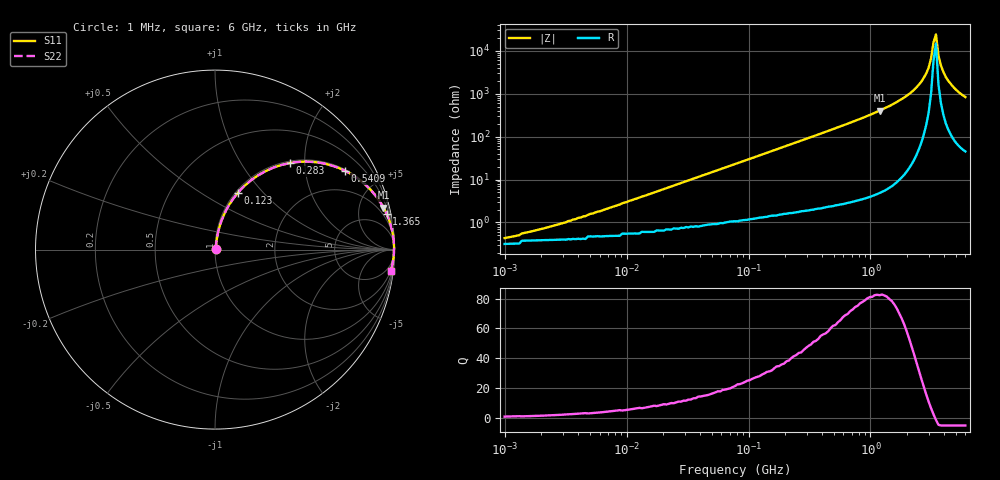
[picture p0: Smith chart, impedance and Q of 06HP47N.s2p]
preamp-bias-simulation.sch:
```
<Qucs Schematic 0.0.19>
<Properties>
  <View=142,9,2351,1324,0.646801,0,0>
  <Grid=10,10,1>
  <DataSet=preamp-bias-simulation.dat>
  <DataDisplay=preamp-bias-simulation.dpl>
  <OpenDisplay=1>
  <Script=preamp-bias-simulation.m>
  <RunScript=0>
  <showFrame=0>
  <FrameText0=Title>
  <FrameText1=Drawn By:>
  <FrameText2=Date:>
  <FrameText3=Revision:>
</Properties>
<Symbol>
</Symbol>
<Components>
  <GND * 1 550 410 0 0 0 0>
  <GND * 1 800 410 0 0 0 0>
  <Pac P3 1 800 350 18 -26 0 1 "3" 1 "50 Ohm" 1 "0 dBm" 0 "1 GHz" 0 "26.85" 0>
  <GND * 1 670 490 0 0 0 0>
  <.SP SP1 1 310 40 0 66 0 0 "lin" 1 "1 MHz" 1 "10 GHz" 1 "5000" 1 "no" 0 "1" 0 "2" 0 "no" 0 "no" 0>
  <Eqn Gains 1 540 50 -30 16 0 0 "Gain_S21db=20*log10(abs(S[2,1]))" 1 "Gain_S31db=20*log10(abs(S[3,1]))" 1 "Gain_S54db=20*log10(abs(S[5,4]))" 1 "yes" 0>
  <GND * 1 1140 770 0 0 0 0>
  <R R1 1 670 430 15 -26 0 1 "10 Ohm" 1 "26.85" 0 "0.0" 0 "0.0" 0 "26.85" 0 "US" 0>
  <R R11 1 740 300 -35 -48 0 0 "1000" 1 "26.85" 0 "0.0" 0 "0.0" 0 "26.85" 0 "US" 0>
  <Eqn Eqn2 1 860 50 -30 16 0 0 "ZinA=(1+S[1,1])/(1-S[1,1])" 1 "ZinB=(1+S[4,4])/(1-S[4,4])" 1 "RinA=real(ZinA)" 1 "RinB=real(ZinB)" 1 "XinA=imag(ZinA)" 1 "XinB=imag(ZinB)" 1 "yes" 0>
  <GND * 1 290 770 0 0 0 0>
  <Pac P1 1 290 670 18 -26 0 1 "1" 1 "50" 1 "0 dBm" 0 "1 GHz" 0 "26.85" 0>
  <Pac P4 1 1140 670 18 -26 0 1 "4" 1 "50 Ohm" 1 "0 dBm" 0 "1 GHz" 0 "26.85" 0>
  <SPfile L_0603HP47N 1 550 300 -40 -41 0 0 "/home/joao/preamp-bias-simulation/06HP47N.s2p" 0 "polar" 0 "linear" 0 "open" 0 "2" 0>
  <GND * 1 650 770 0 0 0 0>
  <Pac P2 1 650 650 18 -26 0 1 "2" 1 "50 Ohm" 1 "0 dBm" 0 "1 GHz" 0 "26.85" 0>
  <C C1 1 540 570 -26 -55 0 2 "12 pF" 1 "" 0 "neutral" 0>
  <R R9 1 450 570 -35 -48 0 0 "0.6" 1 "26.85" 0 "0.0" 0 "0.0" 0 "26.85" 0 "US" 0>
  <C C5 1 1390 570 -26 -55 0 2 "12 pF" 1 "" 0 "neutral" 0>
  <R R10 1 1300 570 -6 11 0 0 "0.6" 1 "26.85" 0 "0.0" 0 "0.0" 0 "26.85" 0 "US" 0>
  <GND * 1 1620 770 0 0 0 0>
  <Pac P5 1 1620 670 18 -26 0 1 "5" 1 "50 Ohm" 1 "0 dBm" 0 "1 GHz" 0 "26.85" 0>
  <C C9 1 670 350 17 -26 0 1 "22 uF" 1 "" 0 "neutral" 0>
</Components>
<Wires>
  <390 300 390 570 "" 0 0 0 "">
  <390 300 520 300 "" 0 0 0 "">
  <550 330 550 410 "" 0 0 0 "">
  <800 380 800 410 "" 0 0 0 "">
  <580 300 670 300 "" 0 0 0 "">
  <670 300 670 320 "" 0 0 0 "">
  <670 380 670 400 "" 0 0 0 "">
  <670 460 670 490 "" 0 0 0 "">
  <800 300 800 320 "" 0 0 0 "">
  <770 300 800 300 "" 0 0 0 "">
  <670 300 710 300 "" 0 0 0 "">
  <290 700 290 770 "" 0 0 0 "">
  <290 570 390 570 "" 0 0 0 "">
  <290 570 290 640 "" 0 0 0 "">
  <1140 700 1140 770 "" 0 0 0 "">
  <390 570 420 570 "" 0 0 0 "">
  <650 680 650 770 "" 0 0 0 "">
  <650 570 650 620 "" 0 0 0 "">
  <570 570 650 570 "" 0 0 0 "">
  <480 570 510 570 "" 0 0 0 "">
  <1140 570 1140 640 "" 0 0 0 "">
  <1140 570 1270 570 "" 0 0 0 "">
  <1420 570 1620 570 "" 0 0 0 "">
  <1330 570 1360 570 "" 0 0 0 "">
  <1620 700 1620 770 "" 0 0 0 "">
  <1620 570 1620 640 "" 0 0 0 "">
</Wires>
<Diagrams>
  <Rect 1139 454 692 405 3 #c0c0c0 1 00 1 0 1e+09 1e+10 1 -10 1 1 1 -1 0.2 1 315 0 225 "" "" "">
	<"Gain_S21db" #0000ff 0 3 0 0 0>
	  <Mkr 2.38924e+09 225 -385 3 0 0>
	<"Gain_S31db" #ff0000 0 3 0 0 0>
	  <Mkr 2.40324e+09 226 -192 3 0 0>
	<"Gain_S54db" #ff00ff 0 3 0 0 0>
  </Rect>
  <Smith 1920 1224 404 404 3 #c0c0c0 1 00 1 0 1 1 1 0 4 1 1 0 1 1 315 0 225 "" "" "">
	<"S[1,1]" #0000ff 0 3 0 0 0>
	  <Mkr 2.40324e+09 -51 -114 3 0 0>
	<"S[4,4]" #ff0000 0 3 0 0 0>
  </Smith>
  <Rect 299 1234 689 389 3 #c0c0c0 1 00 1 0 1e+09 1e+10 1 0 0.1 0.5 1 -1 0.2 1 315 0 225 "" "" "">
	<"RinA" #0000ff 0 3 0 0 0>
	  <Mkr 2.40724e+09 226 -101 3 0 0>
	<"RinB" #ff0000 0 3 0 0 0>
  </Rect>
  <Rect 1139 1234 689 389 3 #c0c0c0 1 00 1 0 1e+09 1e+10 0 -10 1 1 1 -1 0.2 1 315 0 225 "" "" "">
	<"XinA" #0000ff 0 3 0 0 0>
	  <Mkr 2.38924e+09 225 -405 3 0 0>
	<"XinB" #ff0000 0 3 0 0 0>
  </Rect>
</Diagrams>
<Paintings>
</Paintings>
```
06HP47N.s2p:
# MHz S MA R 50
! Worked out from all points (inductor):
!   189 points, 1 MHz to 6 GHz, reference 50 ohm
!   read as one part in series: L = 47 nH near 4.396 MHz
!   highest Q = 82.6 at 1.188 GHz (marker M1), where L = 53.5 nH
!   self-resonance near 3.288 GHz
!   S11 on the Smith chart (normalised r, x): 1 MHz: 1.01, +0.01; 123 MHz: 1.03, +0.73; 283 MHz: 1.04, +1.68; 540.9 MHz: 1.05, +3.28; 1.365 GHz: 1.10, +9.63; 6 GHz: 2, -17
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1  0.004443 41.3  0.997 -0.2  0.997 -0.2  0.004443 41.3
77.46  0.221 74.6  0.965 -12.8  0.965 -12.8  0.221 74.6
123.039  0.338 68.2  0.929 -19.8  0.929 -19.8  0.338 68.2
282.995  0.637 49.2  0.757 -39.6  0.757 -39.6  0.637 49.2
540.917  0.848 31.1  0.517 -58.0  0.517 -58.0  0.848 31.1
1187.879  0.967 14.0  0.242 -75.3  0.242 -75.3  0.967 14.0
1364.777  0.977 11.7  0.203 -77.6  0.203 -77.6  0.977 11.7
2608.635  0.997 3.0  0.053 -84.8  0.053 -84.8  0.997 3.0
3443.441  0.997 -0.2  0.004198 51.6  0.004198 51.6  0.997 -0.2
4143.61  0.996 -2.3  0.041 82.9  0.041 82.9  0.996 -2.3
6000  0.986 -6.8  0.119 80.1  0.119 80.1  0.986 -6.8
